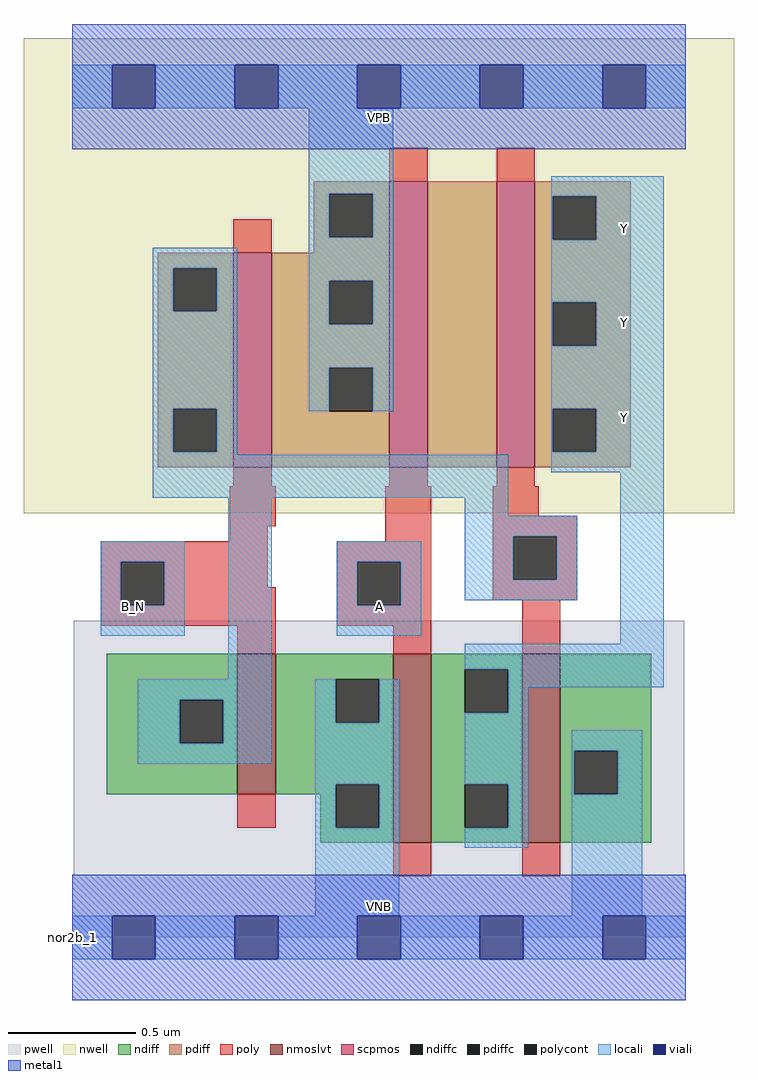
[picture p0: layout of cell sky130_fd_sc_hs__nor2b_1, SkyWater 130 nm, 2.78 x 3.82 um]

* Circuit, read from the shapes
.subckt sky130_fd_sc_hs__nor2b_1 A B_N VGND VNB VPB VPWR Y
XM1 VGND B_N n1 VNB sky130_fd_pr__nfet_01v8_lvt w=0.55 l=0.15
XM2 Y A VGND VNB sky130_fd_pr__nfet_01v8_lvt w=0.74 l=0.15
XM3 VGND n1 Y VNB sky130_fd_pr__nfet_01v8_lvt w=0.74 l=0.15
XM4 VPWR B_N n1 VPB sky130_fd_pr__pfet_01v8 w=0.84 l=0.15
XM5 n2 A VPWR VPB sky130_fd_pr__pfet_01v8 w=1.12 l=0.15
XM6 Y n1 n2 VPB sky130_fd_pr__pfet_01v8 w=1.12 l=0.15
.ends

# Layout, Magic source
magic
tech sky130A
magscale 1 2
<< nwell >>
rect -38 332 518 704
<< pwell >>
rect 1 49 479 248
rect 0 0 480 49
<< scpmos >>
rect 126 368 156 536
rect 248 368 278 592
rect 332 368 362 592
<< nmoslvt >>
rect 129 112 159 222
rect 251 74 281 222
rect 352 74 382 222
<< ndiff >>
rect 27 186 129 222
rect 27 152 84 186
rect 118 152 129 186
rect 27 112 129 152
rect 159 202 251 222
rect 159 168 206 202
rect 240 168 251 202
rect 159 120 251 168
rect 159 112 206 120
rect 194 86 206 112
rect 240 86 251 120
rect 194 74 251 86
rect 281 210 352 222
rect 281 176 307 210
rect 341 176 352 210
rect 281 120 352 176
rect 281 86 307 120
rect 341 86 352 120
rect 281 74 352 86
rect 382 146 453 222
rect 382 112 393 146
rect 427 112 453 146
rect 382 74 453 112
<< pdiff >>
rect 189 582 248 592
rect 189 548 201 582
rect 235 548 248 582
rect 189 536 248 548
rect 67 524 126 536
rect 67 490 79 524
rect 113 490 126 524
rect 67 414 126 490
rect 67 380 79 414
rect 113 380 126 414
rect 67 368 126 380
rect 156 514 248 536
rect 156 480 201 514
rect 235 480 248 514
rect 156 446 248 480
rect 156 412 201 446
rect 235 412 248 446
rect 156 368 248 412
rect 278 368 332 592
rect 362 580 437 592
rect 362 546 376 580
rect 410 546 437 580
rect 362 497 437 546
rect 362 463 376 497
rect 410 463 437 497
rect 362 414 437 463
rect 362 380 376 414
rect 410 380 437 414
rect 362 368 437 380
<< ndiffc >>
rect 84 152 118 186
rect 206 168 240 202
rect 206 86 240 120
rect 307 176 341 210
rect 307 86 341 120
rect 393 112 427 146
<< pdiffc >>
rect 201 548 235 582
rect 79 490 113 524
rect 79 380 113 414
rect 201 480 235 514
rect 201 412 235 446
rect 376 546 410 580
rect 376 463 410 497
rect 376 380 410 414
<< poly >>
rect 248 592 278 618
rect 332 592 362 618
rect 126 536 156 562
rect 126 353 156 368
rect 248 353 278 368
rect 332 353 362 368
rect 123 322 159 353
rect 123 310 153 322
rect 245 310 281 353
rect 22 294 153 310
rect 22 260 38 294
rect 72 274 153 294
rect 207 294 281 310
rect 72 260 159 274
rect 22 244 159 260
rect 207 260 223 294
rect 257 260 281 294
rect 329 330 365 353
rect 329 314 395 330
rect 329 280 345 314
rect 379 280 395 314
rect 329 264 395 280
rect 207 244 281 260
rect 129 222 159 244
rect 251 222 281 244
rect 352 222 382 264
rect 129 86 159 112
rect 251 48 281 74
rect 352 48 382 74
<< polycont >>
rect 38 260 72 294
rect 223 260 257 294
rect 345 280 379 314
<< locali >>
rect 0 649 31 683
rect 65 649 127 683
rect 161 649 223 683
rect 257 649 319 683
rect 353 649 415 683
rect 449 649 480 683
rect 185 582 251 649
rect 185 548 201 582
rect 235 548 251 582
rect 63 524 129 540
rect 63 490 79 524
rect 113 490 129 524
rect 63 414 129 490
rect 63 380 79 414
rect 113 380 129 414
rect 185 514 251 548
rect 185 480 201 514
rect 235 480 251 514
rect 185 446 251 480
rect 185 412 201 446
rect 235 412 251 446
rect 375 580 463 596
rect 375 546 376 580
rect 410 546 463 580
rect 375 497 463 546
rect 375 463 376 497
rect 410 463 463 497
rect 375 414 463 463
rect 63 378 129 380
rect 375 380 376 414
rect 410 380 463 414
rect 63 344 341 378
rect 375 364 463 380
rect 22 294 88 310
rect 22 260 38 294
rect 72 260 88 294
rect 22 236 88 260
rect 122 202 156 344
rect 307 330 341 344
rect 307 314 395 330
rect 207 294 273 310
rect 207 260 223 294
rect 257 260 273 294
rect 307 280 345 314
rect 379 280 395 314
rect 307 264 395 280
rect 207 236 273 260
rect 429 230 463 364
rect 307 210 463 230
rect 51 186 156 202
rect 51 152 84 186
rect 118 152 156 186
rect 51 136 156 152
rect 190 168 206 202
rect 240 168 256 202
rect 190 120 256 168
rect 190 86 206 120
rect 240 86 256 120
rect 190 17 256 86
rect 341 196 463 210
rect 341 176 357 196
rect 307 120 357 176
rect 341 86 357 120
rect 307 70 357 86
rect 391 146 446 162
rect 391 112 393 146
rect 427 112 446 146
rect 391 17 446 112
rect 0 -17 31 17
rect 65 -17 127 17
rect 161 -17 223 17
rect 257 -17 319 17
rect 353 -17 415 17
rect 449 -17 480 17
<< viali >>
rect 31 649 65 683
rect 127 649 161 683
rect 223 649 257 683
rect 319 649 353 683
rect 415 649 449 683
rect 31 -17 65 17
rect 127 -17 161 17
rect 223 -17 257 17
rect 319 -17 353 17
rect 415 -17 449 17
<< metal1 >>
rect 0 683 480 715
rect 0 649 31 683
rect 65 649 127 683
rect 161 649 223 683
rect 257 649 319 683
rect 353 649 415 683
rect 449 649 480 683
rect 0 617 480 649
rect 0 17 480 49
rect 0 -17 31 17
rect 65 -17 127 17
rect 161 -17 223 17
rect 257 -17 319 17
rect 353 -17 415 17
rect 449 -17 480 17
rect 0 -49 480 -17
<< labels >>
rlabel comment s 0 0 0 0 4 nor2b_1
flabel pwell s 0 0 480 49 0 FreeSans 200 0 0 0 VNB
port 4 nsew ground bidirectional
flabel nwell s 0 617 480 666 0 FreeSans 200 0 0 0 VPB
port 5 nsew power bidirectional
flabel metal1 s 0 617 480 666 0 FreeSans 340 0 0 0 VPWR
port 6 nsew power bidirectional
flabel metal1 s 0 0 480 49 0 FreeSans 340 0 0 0 VGND
port 3 nsew ground bidirectional
flabel locali s 31 242 65 276 0 FreeSans 340 0 0 0 B_N
port 2 nsew signal input
flabel locali s 415 390 449 424 0 FreeSans 340 0 0 0 Y
port 7 nsew signal output
flabel locali s 415 464 449 498 0 FreeSans 340 0 0 0 Y
port 7 nsew signal output
flabel locali s 415 538 449 572 0 FreeSans 340 0 0 0 Y
port 7 nsew signal output
flabel locali s 223 242 257 276 0 FreeSans 340 0 0 0 A
port 1 nsew signal input
<< properties >>
string LEFsite unit
string LEFclass CORE
string FIXED_BBOX 0 0 480 666
string GDS_FILE $PDKPATH/libs.ref/sky130_fd_sc_hs/gds/sky130_fd_sc_hs.gds
string LEFsymmetry X Y
string GDS_END 3256426
string GDS_START 3251604
<< end >>
